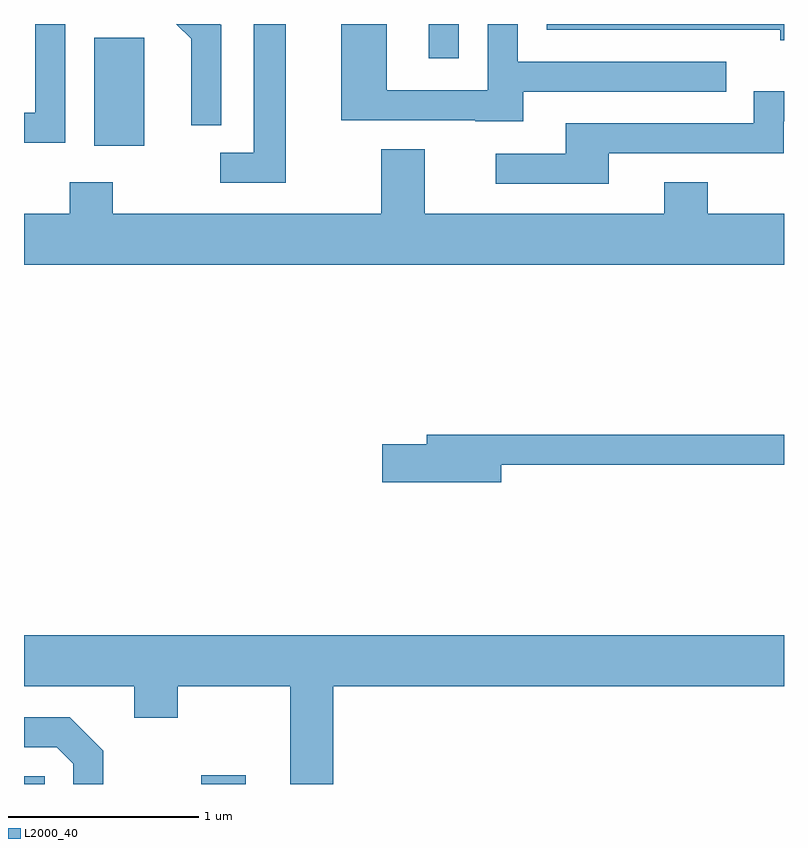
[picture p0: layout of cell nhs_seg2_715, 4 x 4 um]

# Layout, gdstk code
import gdstk
lib = gdstk.Library(unit=1e-6, precision=1e-09)
def R(c, l, rs):  # rectangles x0, y0, x1, y1
    for r in rs: c.add(gdstk.rectangle(r[:2], r[2:], *l))
def P(c, l, *ps):  # polygons
    for p in ps: c.add(gdstk.Polygon(p, *l))
L2000_40 = (2000, 40)

nhs_seg2_715 = lib.new_cell('nhs_seg2_715')
R(nhs_seg2_715, L2000_40, [(205.611,1047.802,205.719,1047.844), (206.543,1047.802,206.779,1047.849), (205.981,1051.161,206.244,1051.729), (207.741,1051.623,207.899,1051.802)])
P(nhs_seg2_715, L2000_40, [(206.989,1051.802),(206.821,1051.802),(206.821,1051.124),(206.643,1051.124),(206.643,1050.966),(206.989,1050.966)],
  [(209.611,1051.802),(208.361,1051.802),(208.361,1051.771),(209.591,1051.771),(209.591,1051.716),(209.611,1051.716)],
  [(206.649,1051.797),(206.644,1051.802),(206.413,1051.802),(206.491,1051.724),(206.491,1051.268),(206.649,1051.268)],
  [(205.829,1051.802),(205.671,1051.802),(205.671,1051.334),(205.611,1051.334),(205.611,1051.176),(205.829,1051.176)],
  [(208.239,1051.446),(209.308,1051.446),(209.308,1051.604),(208.209,1051.604),(208.209,1051.802),(208.051,1051.802),(208.051,1051.454),(207.519,1051.454),(207.519,1051.802),(207.281,1051.802),(207.281,1051.296),(207.985,1051.296),(207.985,1051.291),(208.239,1051.291)],
  [(208.689,1051.121),(209.609,1051.121),(209.609,1051.291),(209.611,1051.291),(209.611,1051.449),(209.451,1051.449),(209.451,1051.279),(208.461,1051.279),(208.461,1051.119),(208.093,1051.119),(208.093,1050.961),(208.689,1050.961)],
  [(209.611,1050.804),(209.209,1050.804),(209.209,1050.969),(208.981,1050.969),(208.981,1050.804),(207.719,1050.804),(207.719,1051.144),(207.491,1051.144),(207.491,1050.804),(206.079,1050.804),(206.079,1050.969),(205.851,1050.969),(205.851,1050.804),(205.611,1050.804),(205.611,1050.536),(209.611,1050.536)],
  [(208.124,1049.481),(209.611,1049.481),(209.611,1049.639),(207.731,1049.639),(207.731,1049.589),(207.496,1049.589),(207.496,1049.391),(208.124,1049.391)],
  [(207.239,1048.316),(209.611,1048.316),(209.611,1048.584),(205.611,1048.584),(205.611,1048.316),(206.191,1048.316),(206.191,1048.151),(206.419,1048.151),(206.419,1048.316),(207.011,1048.316),(207.011,1047.802),(207.239,1047.802)],
  [(206.029,1047.977),(205.852,1048.154),(205.611,1048.154),(205.611,1047.996),(205.784,1047.996),(205.871,1047.909),(205.871,1047.802),(206.029,1047.802)])

lib.write_gds('nhs_seg2_715.gds')
